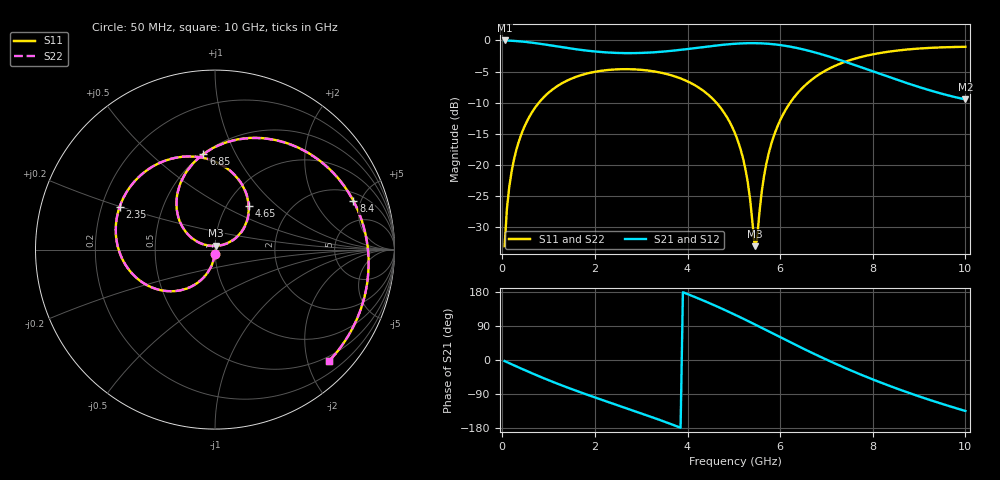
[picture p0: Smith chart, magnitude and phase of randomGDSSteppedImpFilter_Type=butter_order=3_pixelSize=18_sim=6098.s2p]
! freq	dB(S11)	phase(S11)	dB(S12)	phase(S12)
!  dB(S21)	phase(S21)	dB(S22)	phase(S22)
!S-par simulation data
#  GHz  S  DB  R 50
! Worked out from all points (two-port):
!   200 points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, 50 MHz to 10 GHz, reference 50 ohm
!   highest |S21| = -0.01 dB at 50 MHz (marker M1); lowest = -9.5 dB at 10 GHz (marker M2)
!   |S21| within 3 dB of the highest: start of sweep to 7.232 GHz
!   lowest |S11| = -33.0 dB at 5.45 GHz (marker M3), VSWR 1.05, Z = 50.6 + j2.17 ohm
!   |S11| at or under -10 dB: start of sweep to 790.2 MHz; 4.622 GHz to 6.216 GHz (1.594 GHz wide, 29.4 % of centre)
!   |S22| runs from -33.4 to -1.0 dB; largest |S21 - S12| = 0
!   S11 on the Smith chart (normalised r, x): 50 MHz: 1.00, -0.04; 2.35 GHz: 0.28, +0.20; 4.65 GHz: 1.26, +0.68; 6.85 GHz: 0.50, +0.75; 8.4 GHz: 2.64, +4.32; 10 GHz: 0.41, -2.40
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0.05  -33.02 -92.9  -0.01 -2.8  -0.01 -2.8  -33.02 -92.9
0.1  -27.02 -95.9  -0.02 -5.6  -0.02 -5.6  -27.02 -95.9
0.2  -21.08 -101.7  -0.05 -11.2  -0.05 -11.2  -21.08 -101.7
0.5  -13.48 -118.1  -0.24 -27.5  -0.24 -27.5  -13.48 -118.1
1.1  -7.79 -148.6  -0.86 -58.2  -0.86 -58.2  -7.79 -148.7
1.75  -5.47 -178.5  -1.57 -88.0  -1.57 -88.0  -5.47 -178.6
2.35  -4.70 156.0  -1.97 -113.5  -1.97 -113.5  -4.70 155.9
3.4  -5.14 111.7  -1.84 -158.2  -1.84 -158.2  -5.14 111.5
4.1  -6.95 79.8  -1.29 169.1  -1.29 169.1  -6.95 79.5
4.65  -10.23 52.6  -0.79 140.5  -0.79 140.5  -10.23 52.2
5.05  -15.38 33.3  -0.52 118.0  -0.52 118.0  -15.38 32.7
5.3  -22.73 28.1  -0.44 103.2  -0.44 103.2  -22.76 27.0
5.45  -33.02 73.5  -0.44 94.1  -0.44 94.1  -33.45 72.3
5.65  -21.86 156.0  -0.49 81.9  -0.49 81.9  -21.89 156.6
5.85  -15.63 151.4  -0.61 69.6  -0.61 69.6  -15.64 151.6
6.7  -6.20 105.3  -1.82 18.2  -1.82 18.2  -6.20 105.1
6.85  -5.42 97.0  -2.13 9.5  -2.13 9.5  -5.42 96.8
7.55  -3.07 59.8  -3.80 -28.7  -3.80 -28.7  -3.07 59.5
8.35  -1.80 21.6  -5.87 -67.7  -5.87 -67.7  -1.80 21.3
8.4  -1.75 19.3  -6.00 -70.0  -6.00 -70.0  -1.75 19.1
9.15  -1.23 -12.2  -7.83 -102.2  -7.83 -102.2  -1.23 -12.5
10  -1.03 -44.2  -9.46 -134.5  -9.46 -134.5  -1.03 -44.5
